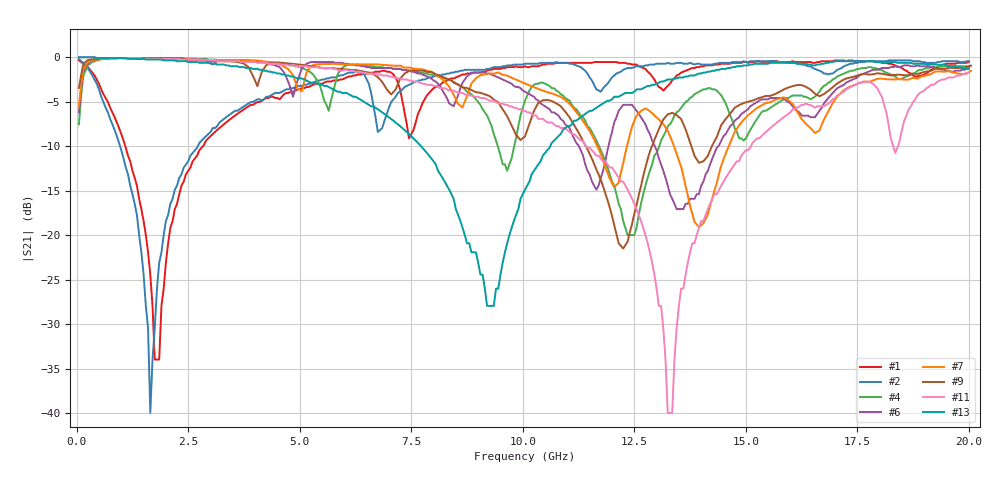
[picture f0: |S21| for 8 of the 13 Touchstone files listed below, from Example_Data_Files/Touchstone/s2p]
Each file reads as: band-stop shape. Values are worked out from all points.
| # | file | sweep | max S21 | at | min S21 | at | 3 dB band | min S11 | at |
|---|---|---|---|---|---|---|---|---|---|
| 1 | L-07C27N_SER.s2p | 50 MHz to 20 GHz | -0.35 dB | 17.1 GHz | -34.0 dB | 1.75 GHz | 13.25 GHz-20 GHz | -20.9 dB | 17.45 GHz |
| 2 | L-07C33N_SER.s2p | 50 MHz to 20 GHz | -0.18 dB | 50 MHz | -40.0 dB | 1.65 GHz | 11.9 GHz-20 GHz | -34.0 dB | 17.95 GHz |
| 3 | L-07C39N_SER.s2p | 50 MHz to 20 GHz | -0.45 dB | 50 MHz | -40.0 dB | 1.35 GHz | 10.45 GHz-20 GHz | -21.9 dB | 19.1 GHz |
| 4 | L-07C39N_SNT.s2p | 50 MHz to 20 GHz | -0.09 dB | 750 MHz | -20.0 dB | 12.35 GHz | 150 MHz-5.4 GHz | -40.0 dB | 1.35 GHz |
| 5 | L-07C47N_SER.s2p | 50 MHz to 20 GHz | -0.26 dB | 50 MHz | -40.0 dB | 1.25 GHz | 8.85 GHz-20 GHz | -40.0 dB | 18.1 GHz |
| 6 | L-07C47N_SNT.s2p | 50 MHz to 20 GHz | -0.09 dB | 650 MHz | -17.1 dB | 13.45 GHz | 150 MHz-4.75 GHz | -40.0 dB | 1.2 GHz |
| 7 | L-07C56N_SNT.s2p | 50 MHz to 20.05 GHz | -0.08 dB | 1.05 GHz | -19.1 dB | 13.95 GHz | 110 MHz-4.91 GHz | -39.6 dB | 1.15 GHz |
| 8 | L-07C68N_SNT.s2p | 50 MHz to 20.05 GHz | -0.09 dB | 1.15 GHz | -17.6 dB | 12.55 GHz | 90 MHz-4.91 GHz | -43.9 dB | 1.05 GHz |
| 9 | L-07C82N_SNT.s2p | 50 MHz to 20.05 GHz | -0.09 dB | 750 MHz | -21.5 dB | 12.25 GHz | 70 MHz-4.03 GHz | -43.2 dB | 950 MHz |
| 10 | L-07CR12_SNT.s2p | 50 MHz to 20.05 GHz | -0.08 dB | 950 MHz | -16.7 dB | 11.85 GHz | 50 MHz-8.49 GHz | -52.2 dB | 750 MHz |
| 11 | L-14C1N5_SER.s2p | 50 MHz to 20 GHz | 0.00 dB | 100 MHz | -40.0 dB | 13.25 GHz | 50 MHz-7.8 GHz | -40.0 dB | 100 MHz |
| 12 | L-14C1N8_SER.s2p | 50 MHz to 20 GHz | 0.00 dB | 150 MHz | -40.0 dB | 12.2 GHz | 50 MHz-7.15 GHz | -40.0 dB | 100 MHz |
| 13 | L-14C2N2_SER.s2p | 50 MHz to 20 GHz | 0.00 dB | 50 MHz | -28.0 dB | 9.2 GHz | 13 GHz-20 GHz | -40.0 dB | 50 MHz |
